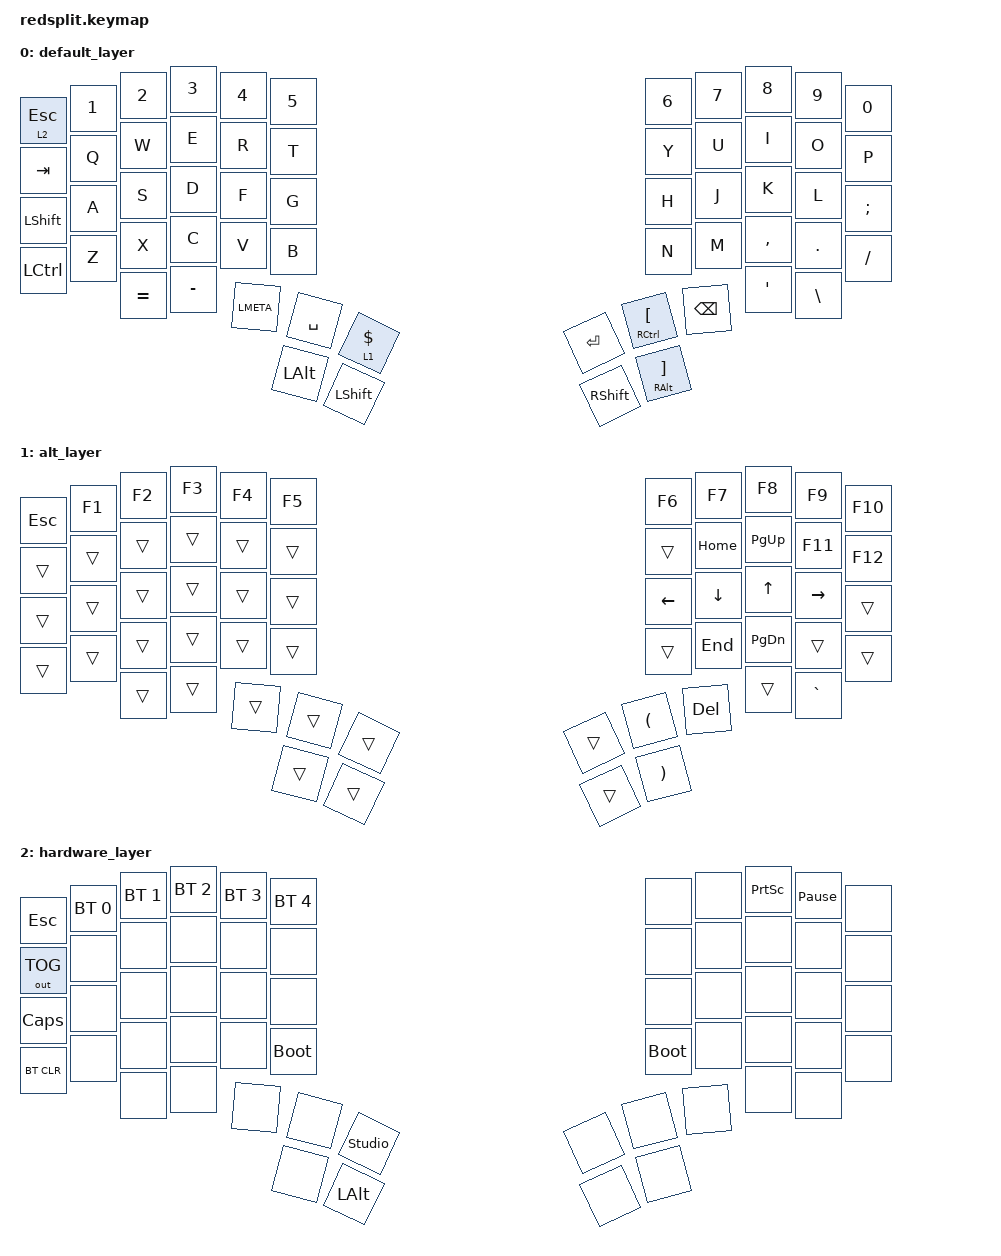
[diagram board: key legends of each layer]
#include <behaviors.dtsi>
#include <dt-bindings/zmk/keys.h>
#include <dt-bindings/zmk/bt.h>
#include <dt-bindings/zmk/outputs.h>
#include <dt-bindings/zmk/pointing.h>

/ {
    behaviors {
        td_alt: tap_dance_mod_tap {
            compatible = "zmk,behavior-tap-dance";
            #binding-cells = <0>;
            tapping-term-ms = <200>;
            bindings = <&kp LALT>, <&kp RALT>;
        };
    };


    keymap {
        compatible = "zmk,keymap";

        default_layer {
            bindings = <                                                                              //Left
                &lt 2 ESC   &kp N1      &kp N2      &kp N3      &kp N4      &kp N5                                 &kp N6              &kp N7          &kp N8               &kp N9        &kp N0
                &kp TAB     &kp Q       &kp W       &kp E       &kp R       &kp T                                  &kp Y               &kp U           &kp I                &kp O         &kp P
                &kp LSHIFT  &kp A       &kp S       &kp D       &kp F       &kp G                                  &kp H               &kp J           &kp K                &kp L         &kp SEMICOLON
                &kp LCTRL   &kp Z       &kp X       &kp C       &kp V       &kp B                                  &kp N               &kp M           &kp COMMA            &kp PERIOD    &kp SLASH
                                        &kp EQUAL   &kp MINUS   &kp LMETA   &kp SPACE   &lt 1 DOLLAR  &kp ENTER    &mt RCTRL LBKT      &kp BACKSPACE   &kp SINGLE_QUOTE     &kp BACKSLASH
                                                                            &kp LALT    &kp LSHIFT    &kp RSHIFT   &mt RALT RBKT
            >;
        };

        alt_layer {
            bindings = <                                                                                    //Left
                &kp ESC     &kp F1  &kp F2                &kp F3                 &kp F4  &kp F5                       &kp F6                        &kp F7         &kp F8         &kp F9     &kp F10
                &trans      &trans  &trans                &trans                 &trans  &trans                       &trans                        &kp HOME       &kp PAGE_UP    &kp F11    &kp F12
                &trans      &trans  &trans                &trans                 &trans  &trans                       &kp LEFT                      &kp DOWN       &kp UP         &kp RIGHT  &trans
                &trans      &trans  &trans                &trans                 &trans  &trans                       &trans                        &kp END        &kp PAGE_DOWN  &trans     &trans
                                    &trans                &trans                 &trans  &trans &trans       &trans   &kp LEFT_PARENTHESIS          &kp DEL        &trans         &kp GRAVE
                                                                                         &trans &trans       &trans   &kp RIGHT_PARENTHESIS
            >;
        };

        hardware_layer {
            bindings = <                                                                                           //Left
                &kp ESC      &bt BT_SEL 0  &bt BT_SEL 1  &bt BT_SEL 2  &bt BT_SEL 3  &bt BT_SEL 4                          &none       &none     &kp PRINTSCREEN   &kp PAUSE_BREAK   &none
                &out OUT_TOG &none         &none         &none         &none         &none                                 &none       &none     &none             &none             &none
                &kp CAPS     &none         &none         &none         &none         &none                                 &none       &none     &none             &none             &none
                &bt BT_CLR   &none         &none         &none         &none         &bootloader                           &bootloader &none     &none             &none             &none
                                           &none         &none         &none         &none        &studio_unlock   &none   &none       &none     &none             &none
                                                                                     &none        &kp LALT         &none   &none
            >;
        };
    };
};
